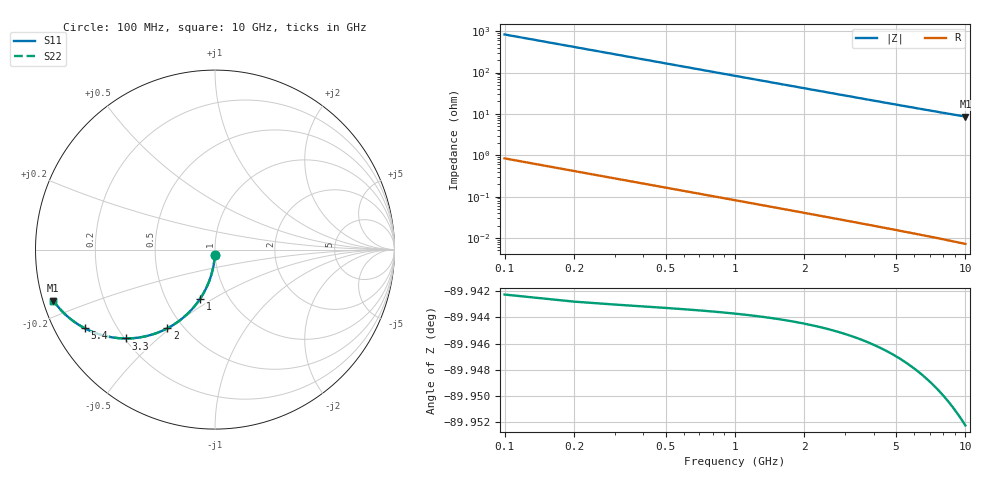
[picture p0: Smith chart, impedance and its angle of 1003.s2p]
# Hz S RI R 50.00
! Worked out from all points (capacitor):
!   100 points, 100 MHz to 10 GHz, reference 50 ohm
!   read as one part in shunt: C = 1.91 pF near 100 MHz
!   lowest |Z| = 8.61 ohm at 10 GHz (marker M1)
!   S11 on the Smith chart (normalised r, x): 100 MHz: 1.00, -0.06; 1 GHz: 0.74, -0.44; 2 GHz: 0.41, -0.49; 3.3 GHz: 0.21, -0.40; 5.4 GHz: 0.09, -0.28; 10 GHz: 0.03, -0.15
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1e8  -0.000875 -0.0298  0.999 -0.0301  0.999 -0.0301  -0.000875 -0.0298
2e8  -0.00359 -0.0595  0.9963 -0.0601  0.9963 -0.0601  -0.00359 -0.0595
3e8  -0.00807 -0.0889  0.9918 -0.0897  0.9918 -0.0897  -0.00807 -0.0889
4e8  -0.0143 -0.1178  0.9856 -0.1188  0.9856 -0.1188  -0.0143 -0.1178
5e8  -0.0221 -0.146  0.9778 -0.1474  0.9778 -0.1474  -0.0221 -0.146
6e8  -0.0315 -0.1735  0.9684 -0.1751  0.9684 -0.1751  -0.0315 -0.1735
7e8  -0.0424 -0.2001  0.9575 -0.202  0.9575 -0.202  -0.0424 -0.2001
8e8  -0.0546 -0.2258  0.9453 -0.2279  0.9453 -0.2279  -0.0546 -0.2258
1e9  -0.0828 -0.2738  0.9171 -0.2765  0.9171 -0.2765  -0.0828 -0.2738
1.2e9  -0.1149 -0.3169  0.8849 -0.3201  0.8849 -0.3201  -0.1149 -0.3169
1.4e9  -0.1502 -0.3549  0.8497 -0.3587  0.8497 -0.3587  -0.1502 -0.3549
1.8e9  -0.226 -0.4154  0.7739 -0.4202  0.7739 -0.4202  -0.226 -0.4154
2e9  -0.2649 -0.4381  0.735 -0.4435  0.735 -0.4435  -0.2649 -0.4381
2.6e9  -0.3784 -0.481  0.6214 -0.488  0.6214 -0.488  -0.3784 -0.481
3.3e9  -0.4951 -0.495  0.5048 -0.5039  0.5048 -0.5039  -0.4951 -0.495
3.4e9  -0.51 -0.4948  0.4898 -0.504  0.4898 -0.504  -0.51 -0.4948
4.2e9  -0.6137 -0.4807  0.3861 -0.492  0.3861 -0.492  -0.6137 -0.4807
5.1e9  -0.7009 -0.4504  0.2989 -0.4642  0.2989 -0.4642  -0.7009 -0.4504
5.4e9  -0.7244 -0.4389  0.2754 -0.4536  0.2754 -0.4536  -0.7244 -0.4389
6.7e9  -0.8021 -0.3887  0.1976 -0.4069  0.1976 -0.4069  -0.8021 -0.3887
8.4e9  -0.8647 -0.3297  0.1349 -0.3529  0.1349 -0.3529  -0.8647 -0.3297
1e10  -0.9009 -0.284  0.0985 -0.3117  0.0985 -0.3117  -0.9009 -0.284
